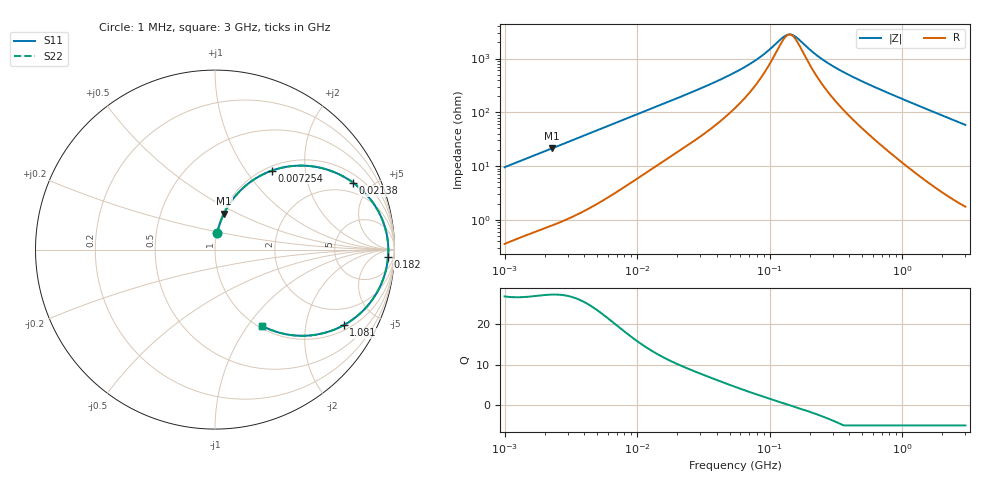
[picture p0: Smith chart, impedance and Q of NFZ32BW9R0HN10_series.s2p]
! NFZ32BW9R0HN10
# Hz S RI R 50
!Freq.(Hz) S11(Real) S11(Imag) S21(Real) S21(Imag) S12(Real) S12(Imag) S22(Real) S22(Imag)
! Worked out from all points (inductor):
!   401 points, 1 MHz to 3 GHz, reference 50 ohm
!   read as one part in series: L = 1.51 uH near 1.041 MHz
!   highest Q = 27.2 at 2.272 MHz (marker M1), where L = 1.49 uH
!   self-resonance near 141.4 MHz
!   S11 on the Smith chart (normalised r, x): 1 MHz: 1.01, +0.19; 7.254 MHz: 1.07, +1.34; 21.38 MHz: 1.40, +3.89; 182 MHz: 25, -28; 1.081 GHz: 1.20, -3.27; 3 GHz: 1.04, -1.17
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1000000  0.0124 0.0937  0.9876 -0.0937  0.9876 -0.0937  0.0124 0.0937
2271982  0.05 0.2003  0.95 -0.2003  0.95 -0.2003  0.05 0.2003
3823119  0.1214 0.3077  0.8786 -0.3077  0.8786 -0.3077  0.1214 0.3077
5266264  0.2026 0.3806  0.7974 -0.3806  0.7974 -0.3806  0.2026 0.3806
7254166  0.3185 0.4406  0.6815 -0.4406  0.6815 -0.4406  0.3185 0.4406
1.019448e7  0.4697 0.468  0.5303 -0.468  0.5303 -0.468  0.4697 0.468
1.461624e7  0.6313 0.4436  0.3687 -0.4436  0.3687 -0.4436  0.6313 0.4436
2.137957e7  0.7701 0.3724  0.2299 -0.3724  0.2299 -0.3724  0.7701 0.3724
3.320783e7  0.8748 0.2686  0.1252 -0.2686  0.1252 -0.2686  0.8748 0.2686
5.477226e7  0.9354 0.1588  0.0646 -0.1588  0.0646 -0.1588  0.9354 0.1588
8.338914e7  0.9574 0.0824  0.0426 -0.0824  0.0426 -0.0824  0.9574 0.0824
1.348146e8  0.9655 0.00716  0.0345 -0.00716  0.0345 -0.00716  0.9655 0.00716
1.520175e8  0.9656 -0.011  0.0344 0.011  0.0344 0.011  0.9656 -0.011
1.820241e8  0.9643 -0.0385  0.0357 0.0385  0.0357 0.0385  0.9643 -0.0385
2.094008e8  0.9621 -0.0607  0.0379 0.0607  0.0379 0.0607  0.9621 -0.0607
2.662515e8  0.9553 -0.1011  0.0447 0.1011  0.0447 0.1011  0.9553 -0.1011
3.594878e8  0.9394 -0.158  0.0606 0.158  0.0606 0.158  0.9394 -0.158
5.583748e8  0.8912 -0.2577  0.1088 0.2577  0.1088 0.2577  0.8912 -0.2577
8.005644e8  0.8152 -0.3497  0.1848 0.3497  0.1848 0.3497  0.8152 -0.3497
1.080907e9  0.7171 -0.421  0.2829 0.421  0.2829 0.421  0.7171 -0.421
1.782824e9  0.4924 -0.4803  0.5076 0.4803  0.5076 0.4803  0.4924 -0.4803
3e9  0.2598 -0.4237  0.7402 0.4237  0.7402 0.4237  0.2598 -0.4237
